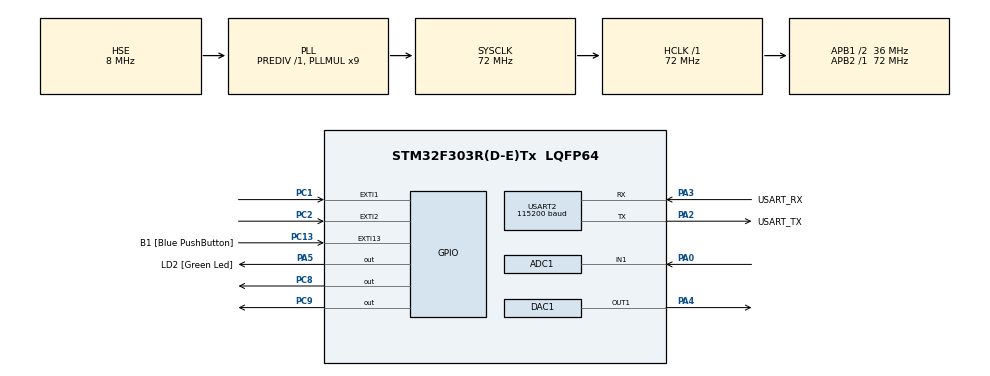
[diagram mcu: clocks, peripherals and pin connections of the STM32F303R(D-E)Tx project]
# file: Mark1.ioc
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Mcu.Family=STM32F3
NVIC.ADC1_2_IRQn=true\:0\:0\:false\:false\:true\:true\:true
PA2.GPIO_PuPd=GPIO_NOPULL
TIM2.Channel-Output\ Compare1\ No\ Output=TIM_CHANNEL_1
RCC.CortexFreq_Value=72000000
ADC1.ContinuousConvMode=ENABLE
PA14.GPIO_Label=TCK
USART2.Parity=PARITY_NONE
RCC.SYSCLKSourceVirtual=RCC_SYSCLKSOURCE_PLLCLK
PA3.GPIO_PuPd=GPIO_NOPULL
PA2.GPIO_Speed=GPIO_SPEED_FREQ_LOW
PC13.GPIO_Label=B1 [Blue PushButton]
PA3.GPIO_Speed=GPIO_SPEED_FREQ_LOW
Dma.USART2_RX.1.MemDataAlignment=DMA_MDATAALIGN_BYTE
ProjectManager.StackSize=0x400
NVIC.DMA1_Channel3_IRQn=true\:0\:0\:false\:false\:true\:false\:true
Dma.USART2_TX.2.PeriphDataAlignment=DMA_PDATAALIGN_BYTE
ADC1.Offset-0\#ChannelRegularConversion=0
RCC.HCLKFreq_Value=72000000
ADC1.Resolution=ADC_RESOLUTION_8B
RCC.APB2TimFreq_Value=72000000
Dma.ADC1.0.Direction=DMA_PERIPH_TO_MEMORY
Dma.USART2_RX.1.PeriphInc=DMA_PINC_DISABLE
Dma.USART2_RX.1.MemInc=DMA_MINC_ENABLE
Dma.ADC1.0.MemDataAlignment=DMA_MDATAALIGN_HALFWORD
RCC.AHBFreq_Value=72000000
Dma.DAC1_CH1.3.Priority=DMA_PRIORITY_LOW
ADC1.Channel-0\#ChannelRegularConversion=ADC_CHANNEL_1
RCC.HSE_VALUE=8000000
VP_TIM2_VS_no_output1.Mode=Output Compare1 No Output
Dma.USART2_TX.2.Priority=DMA_PRIORITY_LOW
USART2.VirtualMode-Asynchronous=VM_ASYNC
RCC.RCC_PLLsource_Clock_Source_FROM_HSE=RCC_HSE_PREDIV_DIV2
RCC.PLLMUL=RCC_PLL_MUL9
PC14-OSC32_IN.Mode=LSE-External-Oscillator
PA14.Mode=Serial_Wire
PA5.GPIO_PuPd=GPIO_NOPULL
Dma.ADC1.0.PeriphInc=DMA_PINC_DISABLE
Dma.USART2_TX.2.MemDataAlignment=DMA_MDATAALIGN_BYTE
PA0.Mode=IN1-Single-Ended
ADC1.SamplingTime-0\#ChannelRegularConversion=ADC_SAMPLETIME_601CYCLES_5
PA0.Signal=ADC1_IN1
Mcu.Package=LQFP64
TIM2.Prescaler=9
PA2.GPIO_Label=USART_TX
TIM2.TIM_MasterOutputTrigger=TIM_TRGO_ENABLE
Dma.Request2=USART2_TX
Dma.DAC1_CH1.3.Direction=DMA_MEMORY_TO_PERIPH
Dma.Request1=USART2_RX
RCC.APB1TimFreq_Value=72000000
Dma.Request3=DAC1_CH1
Dma.DAC1_CH1.3.Instance=DMA1_Channel3
Dma.USART2_RX.1.Mode=DMA_NORMAL
Dma.Request0=ADC1
PF1-OSC_OUT.Signal=RCC_OSC_OUT
PA3.Signal=USART2_RX
PA2.GPIO_Mode=GPIO_MODE_AF_PP
PB3.GPIO_Label=SWO
RCC.PLLSourceVirtual=RCC_PLLSOURCE_HSE
NVIC.DMA1_Channel6_IRQn=true\:0\:0\:false\:false\:true\:false\:true
PC15-OSC32_OUT.Mode=LSE-External-Oscillator
Dma.USART2_TX.2.PeriphInc=DMA_PINC_DISABLE
Dma.USART2_RX.1.Priority=DMA_PRIORITY_LOW
Dma.ADC1.0.Instance=DMA1_Channel1
ADC1.Rank-0\#ChannelRegularConversion=1
Dma.USART2_TX.2.MemInc=DMA_MINC_ENABLE
ADC1.OffsetNumber-0\#ChannelRegularConversion=ADC_OFFSET_NONE
PC13.Signal=GPXTI13
PC8.Signal=GPIO_Output
Dma.DAC1_CH1.3.Mode=DMA_CIRCULAR
PC2.Signal=GPXTI2
RCC.APB1CLKDivider=RCC_HCLK_DIV2
PC14-OSC32_IN.Signal=RCC_OSC32_IN
NVIC.USART2_IRQn=true\:0\:0\:false\:false\:true\:true\:true
USART2.BaudRate=115200
PA13.Signal=SYS_JTMS-SWDIO
PA3.Mode=Asynchronous
Dma.ADC1.0.PeriphDataAlignment=DMA_PDATAALIGN_HALFWORD
ProjectManager.TargetToolchain=STM32CubeIDE
ADC1.SamplingTimeOPAMP-0\#ChannelRegularConversion=ADC_SAMPLETIME_61CYCLES_5
Dma.ADC1.0.Mode=DMA_CIRCULAR
PA3.GPIO_Mode=GPIO_MODE_AF_PP
SH.COMP_DAC11_group.0=DAC1_OUT1,DAC_OUT1
Dma.DAC1_CH1.3.MemInc=DMA_MINC_ENABLE
Dma.ADC1.0.Priority=DMA_PRIORITY_LOW
RCC.USBFreq_Value=72000000
Dma.DAC1_CH1.3.MemDataAlignment=DMA_MDATAALIGN_HALFWORD
PC15-OSC32_OUT.Signal=RCC_OSC32_OUT
Dma.USART2_RX.1.Instance=DMA1_Channel6
PF0-OSC_IN.Mode=HSE-External-Clock-Source
Dma.USART2_RX.1.Direction=DMA_PERIPH_TO_MEMORY
PA5.Signal=GPIO_Output
Dma.USART2_RX.1.PeriphDataAlignment=DMA_PDATAALIGN_BYTE
board=NUCLEO-F303RE
RCC.APB2Freq_Value=72000000
VP_TIM2_VS_ClockSourceINT.Mode=Internal
ADC1.DMAContinuousRequests=ENABLE
TIM2.Period=624
ADC1.NbrOfConversion=1
PA13.Mode=Serial_Wire
Mcu.Name=STM32F303R(D-E)Tx
PA2.Signal=USART2_TX
PA13.GPIO_Label=TMS
Dma.USART2_TX.2.Mode=DMA_NORMAL
ADC1.ExternalTrigConv=ADC_EXTERNALTRIGCONV_T2_TRGO
PB3.Signal=SYS_JTDO-TRACESWO
PA4.Signal=COMP_DAC11_group
RCC.SYSCLKFreq_VALUE=72000000
ADC1.master=1
PA5.GPIO_Label=LD2 [Green Led]
Dma.USART2_TX.2.Instance=DMA1_Channel7
PC13.GPIO_ModeDefaultEXTI=GPIO_MODE_IT_FALLING
Dma.DAC1_CH1.3.PeriphInc=DMA_PINC_DISABLE
Dma.DAC1_CH1.3.PeriphDataAlignment=DMA_PDATAALIGN_HALFWORD
PA14.Signal=SYS_JTCK-SWCLK
Dma.ADC1.0.MemInc=DMA_MINC_ENABLE
ProjectManager.HeapSize=0x200
RCC.HSI_VALUE=8000000
Dma.USART2_TX.2.Direction=DMA_MEMORY_TO_PERIPH
RCC.PLLP=RCC_PLLP_DIV4
PA5.GPIO_Speed=GPIO_SPEED_FREQ_LOW
RCC.PLLQ=7
NVIC.PriorityGroup=NVIC_PRIORITYGROUP_0
ADC1.NbrOfConversionFlag=1
RCC.PLLM=8
RCC.PLLN=336
PA2.Mode=Asynchronous
TIM2.AutoReloadPreload=TIM_AUTORELOAD_PRELOAD_ENABLE
NVIC.DMA1_Channel7_IRQn=true\:0\:0\:false\:false\:true\:false\:true
PC9.Signal=GPIO_Output
NVIC.DMA1_Channel1_IRQn=true\:0\:0\:false\:false\:true\:false\:true
PF0-OSC_IN.Signal=RCC_OSC_IN
RCC.APB1Freq_Value=36000000
PA5.GPIO_Mode=GPIO_MODE_OUTPUT_PP
PC1.Signal=GPXTI1
PA3.GPIO_Label=USART_RX

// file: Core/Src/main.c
/* USER CODE BEGIN Header */
/**
  ******************************************************************************
  * @file           : main.c
  * @brief          : Main program body
  ******************************************************************************
  * @attention
  *
  * <h2><center>&copy; Copyright (c) 2021 STMicroelectronics.
  * All rights reserved.</center></h2>
  *
  * This software component is licensed by ST under BSD 3-Clause license,
  * the "License"; You may not use this file except in compliance with the
  * License. You may obtain a copy of the License at:
  *                        opensource.org/licenses/BSD-3-Clause
  *
  ******************************************************************************
  */
/* USER CODE END Header */
#include "main.h"

/* USER CODE BEGIN Includes */
#include <string.h>
#include <stdio.h>
/* USER CODE END Includes */

/* USER CODE BEGIN PD */
#define ADC_BUF_LEN 256
#define DAC_BUF_LEN 4096
/* USER CODE END PD */

ADC_HandleTypeDef hadc1;
DMA_HandleTypeDef hdma_adc1;

DAC_HandleTypeDef hdac1;
DMA_HandleTypeDef hdma_dac1_ch1;

TIM_HandleTypeDef htim2;

UART_HandleTypeDef huart2;
DMA_HandleTypeDef hdma_usart2_rx;
DMA_HandleTypeDef hdma_usart2_tx;

/* USER CODE BEGIN PV */
uint16_t adc_buf[ADC_BUF_LEN];
/* USER CODE END PV */

void SystemClock_Config(void);
static void MX_GPIO_Init(void);
static void MX_DMA_Init(void);
static void MX_USART2_UART_Init(void);
static void MX_ADC1_Init(void);
static void MX_DAC1_Init(void);
static void MX_TIM2_Init(void);
/* USER CODE BEGIN PFP */
void DMATransferStart(char *adc_value);
void DMATransferComplete(DMA_HandleTypeDef *hdma);
/* USER CODE END PFP */

int main(void)
{
  /* USER CODE BEGIN 1 */
	uint32_t DAC_OUT = 256;
  /* USER CODE END 1 */

  /* MCU Configuration--------------------------------------------------------*/

  /* Reset of all peripherals, Initializes the Flash interface and the Systick. */
  HAL_Init();

  /* Configure the system clock */
  SystemClock_Config();

  /* Initialize all configured peripherals */
  MX_GPIO_Init();
  MX_DMA_Init();
  MX_USART2_UART_Init();
  MX_ADC1_Init();
  MX_DAC1_Init();
  MX_TIM2_Init();
  /* USER CODE BEGIN 2 */
  HAL_ADC_Start_DMA(&hadc1, (uint32_t*)&adc_buf, ADC_BUF_LEN);
  HAL_TIM_Base_Start_IT(&htim2);

  /* USER CODE END 2 */

  /* Infinite loop */
  /* USER CODE BEGIN WHILE */
  while (1)
  {
	// Set DAC value
	HAL_DAC_Start_DMA(&hdac1, DAC_CHANNEL_1, (uint32_t*)DAC_OUT, DAC_BUF_LEN, DAC_ALIGN_12B_R);
	//HAL_DAC_Start(&hdac1, DAC_CHANNEL_1);
	HAL_DAC_SetValue(&hdac1, DAC_CHANNEL_1, DAC_ALIGN_12B_R, DAC_OUT);

	// Pretend we have to do something else for a while
	HAL_Delay(1);
    /* USER CODE END WHILE */

  }
}

void SystemClock_Config(void)
{
  RCC_OscInitTypeDef RCC_OscInitStruct = {0};
  RCC_ClkInitTypeDef RCC_ClkInitStruct = {0};
  RCC_PeriphCLKInitTypeDef PeriphClkInit = {0};

  /** Initializes the RCC Oscillators according to the specified parameters
  * in the RCC_OscInitTypeDef structure.
  */
  RCC_OscInitStruct.OscillatorType = RCC_OSCILLATORTYPE_HSE;
  RCC_OscInitStruct.HSEState = RCC_HSE_BYPASS;
  RCC_OscInitStruct.HSIState = RCC_HSI_ON;
  RCC_OscInitStruct.PLL.PLLState = RCC_PLL_ON;
  RCC_OscInitStruct.PLL.PLLSource = RCC_PLLSOURCE_HSE;
  RCC_OscInitStruct.PLL.PLLMUL = RCC_PLL_MUL9;
  RCC_OscInitStruct.PLL.PREDIV = RCC_PREDIV_DIV1;
  if (HAL_RCC_OscConfig(&RCC_OscInitStruct) != HAL_OK)
  {
    Error_Handler();
  }
  /** Initializes the CPU, AHB and APB buses clocks
  */
  RCC_ClkInitStruct.ClockType = RCC_CLOCKTYPE_HCLK|RCC_CLOCKTYPE_SYSCLK
                              |RCC_CLOCKTYPE_PCLK1|RCC_CLOCKTYPE_PCLK2;
  RCC_ClkInitStruct.SYSCLKSource = RCC_SYSCLKSOURCE_PLLCLK;
  RCC_ClkInitStruct.AHBCLKDivider = RCC_SYSCLK_DIV1;
  RCC_ClkInitStruct.APB1CLKDivider = RCC_HCLK_DIV2;
  RCC_ClkInitStruct.APB2CLKDivider = RCC_HCLK_DIV1;

  if (HAL_RCC_ClockConfig(&RCC_ClkInitStruct, FLASH_LATENCY_2) != HAL_OK)
  {
    Error_Handler();
  }
  PeriphClkInit.PeriphClockSelection = RCC_PERIPHCLK_USART2|RCC_PERIPHCLK_ADC12
                              |RCC_PERIPHCLK_TIM2;
  PeriphClkInit.Usart2ClockSelection = RCC_USART2CLKSOURCE_PCLK1;
  PeriphClkInit.Adc12ClockSelection = RCC_ADC12PLLCLK_DIV1;
  PeriphClkInit.Tim2ClockSelection = RCC_TIM2CLK_HCLK;
  if (HAL_RCCEx_PeriphCLKConfig(&PeriphClkInit) != HAL_OK)
  {
    Error_Handler();
  }
}

static void MX_ADC1_Init(void)
{

  ADC_MultiModeTypeDef multimode = {0};
  ADC_ChannelConfTypeDef sConfig = {0};

  /** Common config
  */
  hadc1.Instance = ADC1;
  hadc1.Init.ClockPrescaler = ADC_CLOCK_ASYNC_DIV1;
  hadc1.Init.Resolution = ADC_RESOLUTION_8B;
  hadc1.Init.ScanConvMode = ADC_SCAN_DISABLE;
  hadc1.Init.ContinuousConvMode = ENABLE;
  hadc1.Init.DiscontinuousConvMode = DISABLE;
  hadc1.Init.ExternalTrigConvEdge = ADC_EXTERNALTRIGCONVEDGE_RISING;
  hadc1.Init.ExternalTrigConv = ADC_EXTERNALTRIGCONV_T2_TRGO;
  hadc1.Init.DataAlign = ADC_DATAALIGN_RIGHT;
  hadc1.Init.NbrOfConversion = 1;
  hadc1.Init.DMAContinuousRequests = ENABLE;
  hadc1.Init.EOCSelection = ADC_EOC_SINGLE_CONV;
  hadc1.Init.LowPowerAutoWait = DISABLE;
  hadc1.Init.Overrun = ADC_OVR_DATA_OVERWRITTEN;
  if (HAL_ADC_Init(&hadc1) != HAL_OK)
  {
    Error_Handler();
  }
  /** Configure the ADC multi-mode
  */
  multimode.Mode = ADC_MODE_INDEPENDENT;
  if (HAL_ADCEx_MultiModeConfigChannel(&hadc1, &multimode) != HAL_OK)
  {
    Error_Handler();
  }
  /** Configure Regular Channel
  */
  sConfig.Channel = ADC_CHANNEL_1;
  sConfig.Rank = ADC_REGULAR_RANK_1;
  sConfig.SingleDiff = ADC_SINGLE_ENDED;
  sConfig.SamplingTime = ADC_SAMPLETIME_601CYCLES_5;
  sConfig.OffsetNumber = ADC_OFFSET_NONE;
  sConfig.Offset = 0;
  if (HAL_ADC_ConfigChannel(&hadc1, &sConfig) != HAL_OK)
  {
    Error_Handler();
  }

}

static void MX_DAC1_Init(void)
{

  DAC_ChannelConfTypeDef sConfig = {0};

  /** DAC Initialization
  */
  hdac1.Instance = DAC1;
  if (HAL_DAC_Init(&hdac1) != HAL_OK)
  {
    Error_Handler();
  }
  /** DAC channel OUT1 config
  */
  sConfig.DAC_Trigger = DAC_TRIGGER_NONE;
  sConfig.DAC_OutputBuffer = DAC_OUTPUTBUFFER_ENABLE;
  if (HAL_DAC_ConfigChannel(&hdac1, &sConfig, DAC_CHANNEL_1) != HAL_OK)
  {
    Error_Handler();
  }

}

static void MX_TIM2_Init(void)
{

  TIM_ClockConfigTypeDef sClockSourceConfig = {0};
  TIM_MasterConfigTypeDef sMasterConfig = {0};
  TIM_OC_InitTypeDef sConfigOC = {0};

  htim2.Instance = TIM2;
  htim2.Init.Prescaler = 9;
  htim2.Init.CounterMode = TIM_COUNTERMODE_UP;
  htim2.Init.Period = 624;
  htim2.Init.ClockDivision = TIM_CLOCKDIVISION_DIV1;
  htim2.Init.AutoReloadPreload = TIM_AUTORELOAD_PRELOAD_ENABLE;
  if (HAL_TIM_Base_Init(&htim2) != HAL_OK)
  {
    Error_Handler();
  }
  sClockSourceConfig.ClockSource = TIM_CLOCKSOURCE_INTERNAL;
  if (HAL_TIM_ConfigClockSource(&htim2, &sClockSourceConfig) != HAL_OK)
  {
    Error_Handler();
  }
  if (HAL_TIM_OC_Init(&htim2) != HAL_OK)
  {
    Error_Handler();
  }
  sMasterConfig.MasterOutputTrigger = TIM_TRGO_ENABLE;
  sMasterConfig.MasterSlaveMode = TIM_MASTERSLAVEMODE_DISABLE;
  if (HAL_TIMEx_MasterConfigSynchronization(&htim2, &sMasterConfig) != HAL_OK)
  {
    Error_Handler();
  }
  sConfigOC.OCMode = TIM_OCMODE_TIMING;
  sConfigOC.Pulse = 0;
  sConfigOC.OCPolarity = TIM_OCPOLARITY_HIGH;
  sConfigOC.OCFastMode = TIM_OCFAST_DISABLE;
  if (HAL_TIM_OC_ConfigChannel(&htim2, &sConfigOC, TIM_CHANNEL_1) != HAL_OK)
  {
    Error_Handler();
  }

}

static void MX_USART2_UART_Init(void)
{

  huart2.Instance = USART2;
  huart2.Init.BaudRate = 115200;
  huart2.Init.WordLength = UART_WORDLENGTH_8B;
  huart2.Init.StopBits = UART_STOPBITS_1;
  huart2.Init.Parity = UART_PARITY_NONE;
  huart2.Init.Mode = UART_MODE_TX_RX;
  huart2.Init.HwFlowCtl = UART_HWCONTROL_NONE;
  huart2.Init.OverSampling = UART_OVERSAMPLING_16;
  huart2.Init.OneBitSampling = UART_ONE_BIT_SAMPLE_DISABLE;
  huart2.AdvancedInit.AdvFeatureInit = UART_ADVFEATURE_NO_INIT;
  if (HAL_UART_Init(&huart2) != HAL_OK)
  {
    Error_Handler();
  }

}

static void MX_DMA_Init(void)
{

  /* DMA controller clock enable */
  __HAL_RCC_DMA1_CLK_ENABLE();

  /* DMA interrupt init */
  /* DMA1_Channel1_IRQn interrupt configuration */
  HAL_NVIC_SetPriority(DMA1_Channel1_IRQn, 0, 0);
  HAL_NVIC_EnableIRQ(DMA1_Channel1_IRQn);
  /* DMA1_Channel3_IRQn interrupt configuration */
  HAL_NVIC_SetPriority(DMA1_Channel3_IRQn, 0, 0);
  HAL_NVIC_EnableIRQ(DMA1_Channel3_IRQn);
  /* DMA1_Channel6_IRQn interrupt configuration */
  HAL_NVIC_SetPriority(DMA1_Channel6_IRQn, 0, 0);
  HAL_NVIC_EnableIRQ(DMA1_Channel6_IRQn);
  /* DMA1_Channel7_IRQn interrupt configuration */
  HAL_NVIC_SetPriority(DMA1_Channel7_IRQn, 0, 0);
  HAL_NVIC_EnableIRQ(DMA1_Channel7_IRQn);

}

static void MX_GPIO_Init(void)
{
  GPIO_InitTypeDef GPIO_InitStruct = {0};

  /* GPIO Ports Clock Enable */
  __HAL_RCC_GPIOC_CLK_ENABLE();
  __HAL_RCC_GPIOF_CLK_ENABLE();
  __HAL_RCC_GPIOA_CLK_ENABLE();
  __HAL_RCC_GPIOB_CLK_ENABLE();

  /*Configure GPIO pin Output Level */
  HAL_GPIO_WritePin(LD2_GPIO_Port, LD2_Pin, GPIO_PIN_RESET);

  /*Configure GPIO pin Output Level */
  HAL_GPIO_WritePin(GPIOC, GPIO_PIN_8|GPIO_PIN_9, GPIO_PIN_RESET);

  /*Configure GPIO pin : B1_Pin */
  GPIO_InitStruct.Pin = B1_Pin;
  GPIO_InitStruct.Mode = GPIO_MODE_IT_FALLING;
  GPIO_InitStruct.Pull = GPIO_NOPULL;
  HAL_GPIO_Init(B1_GPIO_Port, &GPIO_InitStruct);

  /*Configure GPIO pins : PC1 PC2 */
  GPIO_InitStruct.Pin = GPIO_PIN_1|GPIO_PIN_2;
  GPIO_InitStruct.Mode = GPIO_MODE_IT_FALLING;
  GPIO_InitStruct.Pull = GPIO_PULLUP;
  HAL_GPIO_Init(GPIOC, &GPIO_InitStruct);

  /*Configure GPIO pin : LD2_Pin */
  GPIO_InitStruct.Pin = LD2_Pin;
  GPIO_InitStruct.Mode = GPIO_MODE_OUTPUT_PP;
  GPIO_InitStruct.Pull = GPIO_NOPULL;
  GPIO_InitStruct.Speed = GPIO_SPEED_FREQ_LOW;
  HAL_GPIO_Init(LD2_GPIO_Port, &GPIO_InitStruct);

  /*Configure GPIO pins : PC8 PC9 */
  GPIO_InitStruct.Pin = GPIO_PIN_8|GPIO_PIN_9;
  GPIO_InitStruct.Mode = GPIO_MODE_OUTPUT_PP;
  GPIO_InitStruct.Pull = GPIO_NOPULL;
  GPIO_InitStruct.Speed = GPIO_SPEED_FREQ_LOW;
  HAL_GPIO_Init(GPIOC, &GPIO_InitStruct);

  /* EXTI interrupt init*/
  HAL_NVIC_SetPriority(EXTI1_IRQn, 0, 0);
  HAL_NVIC_EnableIRQ(EXTI1_IRQn);

  HAL_NVIC_SetPriority(EXTI2_TSC_IRQn, 0, 0);
  HAL_NVIC_EnableIRQ(EXTI2_TSC_IRQn);

}

/* USER CODE BEGIN 4 */
void DMATransferComplete(DMA_HandleTypeDef *hdma) {
	// Reset LD2
	HAL_GPIO_WritePin(LD2_GPIO_Port, LD2_Pin, GPIO_PIN_RESET);
}

void DMATransferStart(char *adc_value){
	uint32_t StrLen1 = 0;
	uint32_t StrLen2 = 0;

	char *TxtPtr = adc_value;

	StrLen2 = strlen(adc_value);

	while(*adc_value){
		StrLen1++;
	}

	if(StrLen1 == StrLen2){
		if(HAL_UART_Transmit_DMA(&huart2, (uint8_t *)TxtPtr, StrLen2) != HAL_OK){
			Error_Handler();
		} else {
			DMATransferComplete(&hdma_adc1);
		}
	}
}

// Called when buffer is completely filled
void HAL_ADC_ConvCpltCallback(ADC_HandleTypeDef* hadc) {
	uint8_t raw_out;
	char Vsample[16];

	// Set LD2
	HAL_GPIO_WritePin(LD2_GPIO_Port, LD2_Pin, GPIO_PIN_SET);

	// Get ADC value
	raw_out = HAL_ADC_GetValue(&hadc1);

	// Convert to string and print
	sprintf(Vsample, "%hu\r\n", raw_out);
	DMATransferStart(Vsample);
}

//Called when button pressed
void HAL_GPIO_EXTI_Callback(uint16_t GPIO_Pin){
	if(GPIO_Pin == GPIO_PIN_1){
		HAL_GPIO_TogglePin(GPIOC, GPIO_PIN_9);
	}else if(GPIO_Pin == GPIO_PIN_2){
		HAL_GPIO_TogglePin(GPIOC, GPIO_PIN_8);
	}
}
/* USER CODE END 4 */

void Error_Handler(void)
{
  __disable_irq();
  while (1)
  {
  }
}

/************************ (C) COPYRIGHT STMicroelectronics *****END OF FILE****/
